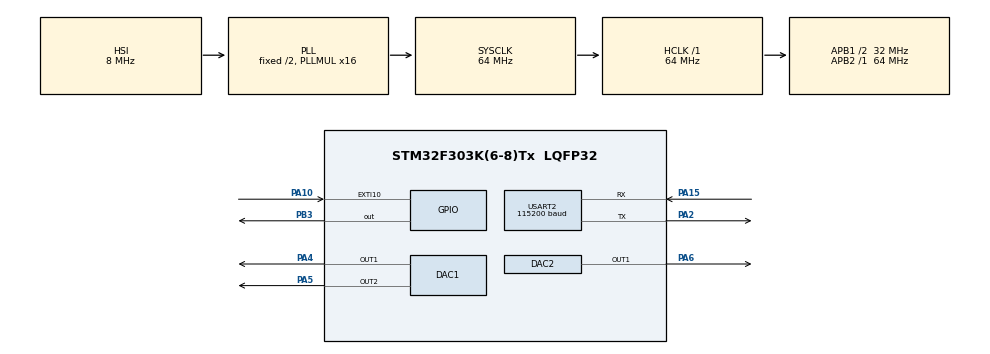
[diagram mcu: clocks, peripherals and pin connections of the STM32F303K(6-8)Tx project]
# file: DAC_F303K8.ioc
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DAC1.DAC_OutputBuffer=DAC_OUTPUTBUFFER_DISABLE
DAC1.DAC_Trigger=DAC_TRIGGER_T2_TRGO
DAC1.DAC_Trigger2=DAC_TRIGGER_T2_TRGO
DAC2.DAC_Trigger=DAC_TRIGGER_T2_TRGO
Dma.DAC1_CH1.1.Direction=DMA_MEMORY_TO_PERIPH
Dma.DAC1_CH1.1.Instance=DMA1_Channel3
Dma.DAC1_CH1.1.MemDataAlignment=DMA_MDATAALIGN_WORD
Dma.DAC1_CH1.1.MemInc=DMA_MINC_ENABLE
Dma.DAC1_CH1.1.Mode=DMA_CIRCULAR
Dma.DAC1_CH1.1.PeriphDataAlignment=DMA_PDATAALIGN_WORD
Dma.DAC1_CH1.1.PeriphInc=DMA_PINC_DISABLE
Dma.DAC1_CH1.1.Priority=DMA_PRIORITY_HIGH
Dma.DAC1_CH2.2.Direction=DMA_MEMORY_TO_PERIPH
Dma.DAC1_CH2.2.Instance=DMA1_Channel4
Dma.DAC1_CH2.2.MemDataAlignment=DMA_MDATAALIGN_WORD
Dma.DAC1_CH2.2.MemInc=DMA_MINC_ENABLE
Dma.DAC1_CH2.2.Mode=DMA_CIRCULAR
Dma.DAC1_CH2.2.PeriphDataAlignment=DMA_PDATAALIGN_WORD
Dma.DAC1_CH2.2.PeriphInc=DMA_PINC_DISABLE
Dma.DAC1_CH2.2.Priority=DMA_PRIORITY_HIGH
Dma.DAC2_CH1.0.Direction=DMA_MEMORY_TO_PERIPH
Dma.DAC2_CH1.0.Instance=DMA1_Channel5
Dma.DAC2_CH1.0.MemDataAlignment=DMA_MDATAALIGN_WORD
Dma.DAC2_CH1.0.MemInc=DMA_MINC_ENABLE
Dma.DAC2_CH1.0.Mode=DMA_CIRCULAR
Dma.DAC2_CH1.0.PeriphDataAlignment=DMA_PDATAALIGN_WORD
Dma.DAC2_CH1.0.PeriphInc=DMA_PINC_DISABLE
Dma.DAC2_CH1.0.Priority=DMA_PRIORITY_HIGH
Dma.Request0=DAC2_CH1
Dma.Request1=DAC1_CH1
Dma.Request2=DAC1_CH2
Mcu.Family=STM32F3
Mcu.Name=STM32F303K(6-8)Tx
Mcu.Package=LQFP32
NVIC.DMA1_Channel3_IRQn=true\:0\:0\:false\:false\:false\:false
NVIC.DMA1_Channel4_IRQn=true\:0\:0\:false\:false\:false\:false
NVIC.DMA1_Channel5_IRQn=true\:0\:0\:false\:false\:false\:false
NVIC.EXTI15_10_IRQn=true\:0\:0\:false\:false\:true\:true
NVIC.PriorityGroup=NVIC_PRIORITYGROUP_4
PA10.Signal=GPXTI10
PA15.Mode=Asynchronous
PA15.Signal=USART2_RX
PA2.Mode=Asynchronous
PA2.Signal=USART2_TX
PA4.Signal=COMP_DAC11_group
PA5.Signal=COMP_DAC12_group
PA6.Signal=COMP_DAC21_group
PB3.Signal=GPIO_Output
ProjectManager.HeapSize=0x200
ProjectManager.StackSize=0x400
ProjectManager.TargetToolchain=Makefile
RCC.AHBFreq_Value=64000000
RCC.APB1CLKDivider=RCC_HCLK_DIV2
RCC.APB1Freq_Value=32000000
RCC.APB1TimFreq_Value=64000000
RCC.APB2Freq_Value=64000000
RCC.APB2TimFreq_Value=64000000
RCC.CortexFreq_Value=64000000
RCC.HCLKFreq_Value=64000000
RCC.HSE_VALUE=8000000
RCC.HSI_VALUE=8000000
RCC.PLLMUL=RCC_PLL_MUL16
RCC.SYSCLKFreq_VALUE=64000000
RCC.SYSCLKSourceVirtual=RCC_SYSCLKSOURCE_PLLCLK
SH.COMP_DAC11_group.0=DAC1_OUT1,DAC_OUT1
SH.COMP_DAC12_group.0=DAC1_OUT2,DAC_OUT2
SH.COMP_DAC21_group.0=DAC2_OUT1,Switch_Enable_OUT1
TIM2.AutoReloadPreload=TIM_AUTORELOAD_PRELOAD_ENABLE
TIM2.ClockDivision=TIM_CLOCKDIVISION_DIV1
TIM2.Period=100-1
TIM2.Prescaler=64-1
TIM2.TIM_MasterOutputTrigger=TIM_TRGO_UPDATE
TIM2.TIM_MasterSlaveMode=TIM_MASTERSLAVEMODE_DISABLE
USART2.BaudRate=115200
USART2.VirtualMode-Asynchronous=VM_ASYNC
VP_TIM2_VS_ClockSourceINT.Mode=Internal
board=custom

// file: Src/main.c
/**
  ******************************************************************************
  * @file           : main.c
  * @brief          : Main program body
  ******************************************************************************
  ** This notice applies to any and all portions of this file
  * that are not between comment pairs USER CODE BEGIN and
  * USER CODE END. Other portions of this file, whether
  * inserted by the user or by software development tools
  * are owned by their respective copyright owners.
  *
  * COPYRIGHT(c) 2020 STMicroelectronics
  *
  * Redistribution and use in source and binary forms, with or without modification,
  * are permitted provided that the following conditions are met:
  *   1. Redistributions of source code must retain the above copyright notice,
  *      this list of conditions and the following disclaimer.
  *   2. Redistributions in binary form must reproduce the above copyright notice,
  *      this list of conditions and the following disclaimer in the documentation
  *      and/or other materials provided with the distribution.
  *   3. Neither the name of STMicroelectronics nor the names of its contributors
  *      may be used to endorse or promote products derived from this software
  *      without specific prior written permission.
  *
  * THIS SOFTWARE IS PROVIDED BY THE COPYRIGHT HOLDERS AND CONTRIBUTORS "AS IS"
  * AND ANY EXPRESS OR IMPLIED WARRANTIES, INCLUDING, BUT NOT LIMITED TO, THE
  * IMPLIED WARRANTIES OF MERCHANTABILITY AND FITNESS FOR A PARTICULAR PURPOSE ARE
  * DISCLAIMED. IN NO EVENT SHALL THE COPYRIGHT HOLDER OR CONTRIBUTORS BE LIABLE
  * FOR ANY DIRECT, INDIRECT, INCIDENTAL, SPECIAL, EXEMPLARY, OR CONSEQUENTIAL
  * DAMAGES (INCLUDING, BUT NOT LIMITED TO, PROCUREMENT OF SUBSTITUTE GOODS OR
  * SERVICES; LOSS OF USE, DATA, OR PROFITS; OR BUSINESS INTERRUPTION) HOWEVER
  * CAUSED AND ON ANY THEORY OF LIABILITY, WHETHER IN CONTRACT, STRICT LIABILITY,
  * OR TORT (INCLUDING NEGLIGENCE OR OTHERWISE) ARISING IN ANY WAY OUT OF THE USE
  * OF THIS SOFTWARE, EVEN IF ADVISED OF THE POSSIBILITY OF SUCH DAMAGE.
  *
  ******************************************************************************
  */
#include "main.h"
#include "stm32f3xx_hal.h"
#include "dac.h"
#include "dma.h"
#include "tim.h"
#include "usart.h"
#include "gpio.h"

/* USER CODE BEGIN Includes */

// see application note AN3126
// tutorial credit https://controllerstech.com/dac-in-stm32/

#include "math.h"

#define PI 3.1415926536
/* USER CODE END Includes */

/* USER CODE BEGIN PV */
/* Private variables ---------------------------------------------------------*/
// float val = 1.2;
// uint32_t var;

// Hz = trigger_frequency / array_size
// adjust   htim2.Init.Period value – line 58 of tim.c – to change freq.

#define SINE_ARRAY_SIZE 300
#define AMPLITUDE 4000 // 4096 caused glitchy waveforms.

uint32_t sine_vals1[SINE_ARRAY_SIZE];
uint32_t sine_vals2[SINE_ARRAY_SIZE];
uint32_t sine_vals3[SINE_ARRAY_SIZE];
uint32_t shift_sine = SINE_ARRAY_SIZE/30;

void calcsin(uint32_t sine_val[], int phase_number) {
  for (int i = 0; i < SINE_ARRAY_SIZE; i++) {
      sine_val[i] = ((sin((i+(shift_sine*(phase_number-1)))*2*PI/SINE_ARRAY_SIZE) + 1)*(AMPLITUDE/2));
      // sine_val[i] = ((sin(i*2*PI/(double)SINE_ARRAY_SIZE) + 1.0)*(4096/2));
      // sine_val[i] = ((sin(i*2*PI/100) + 1)*(4096/2));
      sprintf(log_buffer, "phase %d val = %ld\r\n", phase_number, sine_val[i]);
      debug_printf(log_buffer);
  }
}

/* USER CODE END PV */

void SystemClock_Config(void);

/* USER CODE BEGIN PFP */
/* Private function prototypes -----------------------------------------------*/

/* USER CODE END PFP */

int main(void)
{

  /* MCU Configuration----------------------------------------------------------*/

  /* Reset of all peripherals, Initializes the Flash interface and the Systick. */
  HAL_Init();

  /* Configure the system clock */
  SystemClock_Config();

  /* Initialize all configured peripherals */
  MX_GPIO_Init();
  MX_DMA_Init();
  MX_DAC2_Init();
  MX_DAC1_Init();
  MX_TIM2_Init();
  MX_USART2_UART_Init();
  /* USER CODE BEGIN 2 */

  HAL_Delay(1000); // time to get debugger active.

  calcsin(sine_vals1, 1);
  calcsin(sine_vals2, 2);
  calcsin(sine_vals3, 3);

  HAL_DAC_Start_DMA(&hdac1, DAC_CHANNEL_1, sine_vals1, SINE_ARRAY_SIZE, DAC_ALIGN_12B_R);
  HAL_DAC_Start_DMA(&hdac1, DAC_CHANNEL_2, sine_vals2, SINE_ARRAY_SIZE, DAC_ALIGN_12B_R);
  HAL_DAC_Start_DMA(&hdac2, DAC_CHANNEL_1, sine_vals3, SINE_ARRAY_SIZE, DAC_ALIGN_12B_R);

  HAL_Delay(100);

  HAL_TIM_Base_Start(&htim2);

  HAL_GPIO_WritePin(GPIOB, GPIO_PIN_3, GPIO_PIN_SET);

  /* USER CODE END 2 */

  /* Infinite loop */
  /* USER CODE BEGIN WHILE */
  while (1)
  {
    // something to check the device is running.
    static int counter;
    sprintf(log_buffer, "%d\r\n", counter);
    debug_printf(log_buffer);
    HAL_Delay(1000);
    counter++;

    // var = val*(4096)/3.3;
    // HAL_DAC_SetValue(&hdac1, DAC_CHANNEL_1, DAC_ALIGN_12B_R, var);
    // val += 0.5;
    // HAL_Delay(2000);
    // if (val>3) val=0.2;

    // HAL_Delay(1000);
    // HAL_GPIO_TogglePin(GPIOB, GPIO_PIN_3);
  /* USER CODE END WHILE */

  }

}

void SystemClock_Config(void)
{

  RCC_OscInitTypeDef RCC_OscInitStruct;
  RCC_ClkInitTypeDef RCC_ClkInitStruct;

    /**Initializes the CPU, AHB and APB busses clocks
    */
  RCC_OscInitStruct.OscillatorType = RCC_OSCILLATORTYPE_HSI;
  RCC_OscInitStruct.HSIState = RCC_HSI_ON;
  RCC_OscInitStruct.HSICalibrationValue = 16;
  RCC_OscInitStruct.PLL.PLLState = RCC_PLL_ON;
  RCC_OscInitStruct.PLL.PLLSource = RCC_PLLSOURCE_HSI;
  RCC_OscInitStruct.PLL.PLLMUL = RCC_PLL_MUL16;
  if (HAL_RCC_OscConfig(&RCC_OscInitStruct) != HAL_OK)
  {
    _Error_Handler(__FILE__, __LINE__);
  }

    /**Initializes the CPU, AHB and APB busses clocks
    */
  RCC_ClkInitStruct.ClockType = RCC_CLOCKTYPE_HCLK|RCC_CLOCKTYPE_SYSCLK
                              |RCC_CLOCKTYPE_PCLK1|RCC_CLOCKTYPE_PCLK2;
  RCC_ClkInitStruct.SYSCLKSource = RCC_SYSCLKSOURCE_PLLCLK;
  RCC_ClkInitStruct.AHBCLKDivider = RCC_SYSCLK_DIV1;
  RCC_ClkInitStruct.APB1CLKDivider = RCC_HCLK_DIV2;
  RCC_ClkInitStruct.APB2CLKDivider = RCC_HCLK_DIV1;

  if (HAL_RCC_ClockConfig(&RCC_ClkInitStruct, FLASH_LATENCY_2) != HAL_OK)
  {
    _Error_Handler(__FILE__, __LINE__);
  }

    /**Configure the Systick interrupt time
    */
  HAL_SYSTICK_Config(HAL_RCC_GetHCLKFreq()/1000);

    /**Configure the Systick
    */
  HAL_SYSTICK_CLKSourceConfig(SYSTICK_CLKSOURCE_HCLK);

  /* SysTick_IRQn interrupt configuration */
  HAL_NVIC_SetPriority(SysTick_IRQn, 0, 0);
}

void _Error_Handler(char *file, int line)
{
  while(1)
  {
  }
}

/************************ (C) COPYRIGHT STMicroelectronics *****END OF FILE****/
